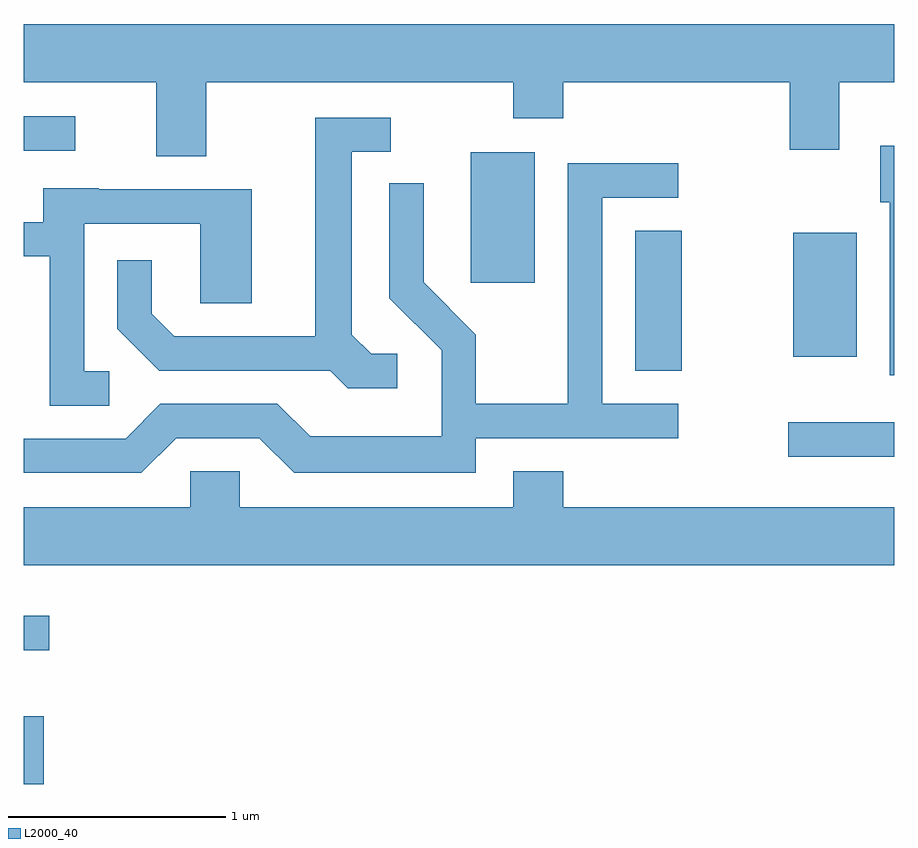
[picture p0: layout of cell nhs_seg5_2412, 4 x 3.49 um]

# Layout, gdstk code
import gdstk
lib = gdstk.Library(unit=1e-6, precision=1e-09)
def R(c, l, rs):  # rectangles x0, y0, x1, y1
    for r in rs: c.add(gdstk.rectangle(r[:2], r[2:], *l))
def P(c, l, *ps):  # polygons
    for p in ps: c.add(gdstk.Polygon(p, *l))
L2000_40 = (2000, 40)

nhs_seg5_2412 = lib.new_cell('nhs_seg5_2412')
R(nhs_seg5_2412, L2000_40, [(257.611,1398.072,257.704,1398.384), (257.611,1398.686,257.728,1398.844), (261.123,1399.576,261.611,1399.734), (260.421,1399.971,260.634,1400.614), (261.146,1400.036,261.439,1400.604), (259.666,1400.376,259.959,1400.974), (257.611,1400.981,257.848,1401.139)])
P(nhs_seg5_2412, L2000_40, [(257.611,1401.296),(258.221,1401.296),(258.221,1400.956),(258.449,1400.956),(258.449,1401.296),(259.861,1401.296),(259.861,1401.131),(260.089,1401.131),(260.089,1401.296),(261.131,1401.296),(261.131,1400.986),(261.359,1400.986),(261.359,1401.296),(261.611,1401.296),(261.611,1401.564),(257.611,1401.564)],
  [(259.328,1400.049),(259.207,1400.049),(259.119,1400.137),(259.119,1400.976),(259.298,1400.976),(259.298,1401.134),(258.951,1401.134),(258.951,1400.129),(258.302,1400.129),(258.199,1400.232),(258.199,1400.478),(258.041,1400.478),(258.041,1400.164),(258.234,1399.971),(259.019,1399.971),(259.099,1399.891),(259.328,1399.891)],
  [(261.611,1401.004),(261.546,1401.004),(261.546,1400.746),(261.591,1400.746),(261.591,1399.951),(261.611,1399.951)],
  [(258.312,1399.661),(258.694,1399.661),(258.854,1399.501),(259.689,1399.501),(259.689,1399.661),(260.618,1399.661),(260.618,1399.819),(260.269,1399.819),(260.269,1400.766),(260.618,1400.766),(260.618,1400.924),(260.111,1400.924),(260.111,1399.819),(259.689,1399.819),(259.689,1400.137),(259.449,1400.377),(259.449,1400.833),(259.291,1400.833),(259.291,1400.304),(259.531,1400.064),(259.531,1399.669),(258.927,1399.669),(258.777,1399.819),(258.239,1399.819),(258.079,1399.659),(257.611,1399.659),(257.611,1399.501),(258.152,1399.501)],
  [(258.003,1399.969),(257.889,1399.969),(257.889,1400.646),(258.421,1400.646),(258.421,1400.281),(258.659,1400.281),(258.659,1400.804),(257.955,1400.804),(257.955,1400.809),(257.701,1400.809),(257.701,1400.654),(257.611,1400.654),(257.611,1400.496),(257.731,1400.496),(257.731,1399.811),(258.003,1399.811)],
  [(261.611,1399.344),(260.089,1399.344),(260.089,1399.509),(259.861,1399.509),(259.861,1399.344),(258.604,1399.344),(258.604,1399.509),(258.376,1399.509),(258.376,1399.344),(257.611,1399.344),(257.611,1399.076),(261.611,1399.076)])

lib.write_gds('nhs_seg5_2412.gds')
